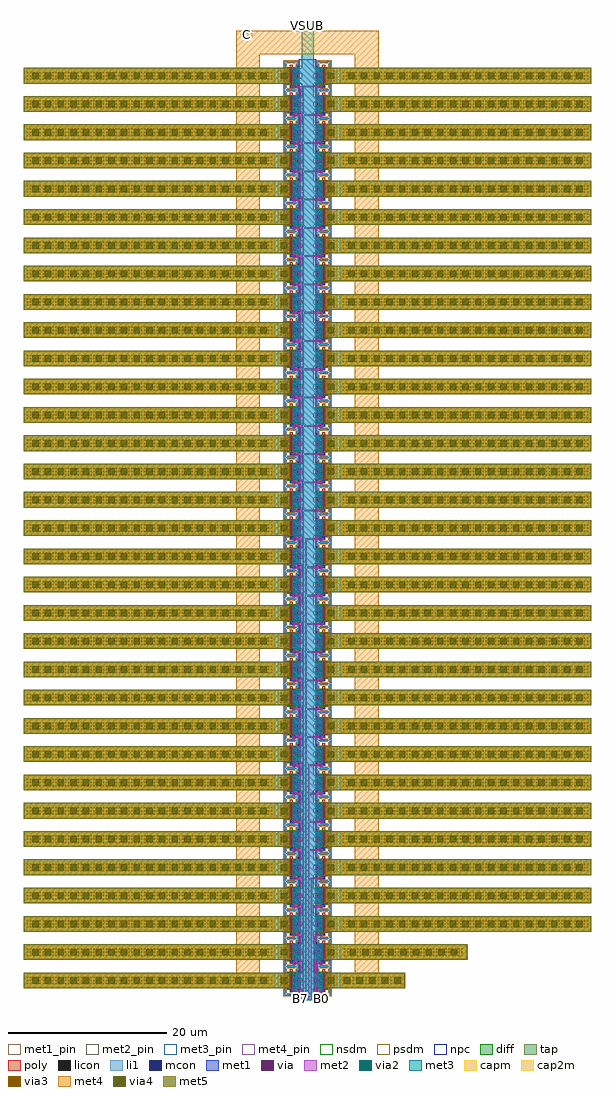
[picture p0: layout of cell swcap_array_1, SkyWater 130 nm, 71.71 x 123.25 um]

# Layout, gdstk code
from math import pi, radians
import gdstk
lib = gdstk.Library(unit=1e-6, precision=1e-09)
def R(c, l, rs):  # rectangles x0, y0, x1, y1
    for r in rs: c.add(gdstk.rectangle(r[:2], r[2:], *l))
def A(c, l, x, y, w, h, nx, ny, dx, dy):  # array of equal rectangles
    R(c, l, [(x+i*dx, y+j*dy, x+i*dx+w, y+j*dy+h) for i in range(nx) for j in range(ny)])
diff = (65, 20)
tap = (65, 44)
poly = (66, 20)
licon = (66, 44)
li1 = (67, 20)
mcon = (67, 44)
met1_pin = (68, 16)
met1 = (68, 20)
via = (68, 44)
met2_pin = (69, 16)
met2 = (69, 20)
via2 = (69, 44)
met3_pin = (70, 16)
met3 = (70, 20)
via3 = (70, 44)
met4_pin = (71, 16)
met4 = (71, 20)
via4 = (71, 44)
met5 = (72, 20)
capm = (89, 44)
nsdm = (93, 44)
psdm = (94, 20)
npc = (95, 20)
cap2m = (97, 44)

tcap_50f = lib.new_cell('tcap_50f')
R(tcap_50f, diff, [(0.425,0.785,1.155,2.785)])
R(tcap_50f, tap, [(-0.085,-0.085,1.665,0.085), (-0.085,0.085,0.085,3.485), (1.495,0.085,1.665,3.485), (-0.085,3.485,1.665,3.655)])
R(tcap_50f, poly, [(0.625,0.345,0.955,0.675), (0.715,0.675,0.865,2.895), (0.625,2.895,0.955,3.225)])
A(tcap_50f, licon, -0.085, 0.51, 0.17, 0.17, 1, 8, 0, 0.34)
A(tcap_50f, licon, 1.495, 0.51, 0.17, 0.17, 1, 8, 0, 0.34)
A(tcap_50f, licon, 0.485, 0.85, 0.17, 0.17, 1, 6, 0, 0.34)
A(tcap_50f, licon, 0.925, 0.85, 0.17, 0.17, 1, 6, 0, 0.34)
R(tcap_50f, licon, [(0.535,-0.085,0.705,0.085), (0.875,-0.085,1.045,0.085), (0.705,0.425,0.875,0.595), (0.535,3.485,0.705,3.655), (0.875,3.485,1.045,3.655)])
R(tcap_50f, li1, [(-0.255,-0.085,1.665,0.085), (-0.255,0.085,0.085,3.485), (1.495,0.085,1.665,3.485), (0.625,0.425,0.955,0.595), (0.485,0.765,0.655,2.805), (0.925,0.765,1.095,2.805), (-0.255,3.485,1.665,3.655)])
A(tcap_50f, mcon, -0.085, 0.98, 0.17, 0.17, 1, 5, 0, 0.36)
A(tcap_50f, mcon, 0.485, 0.98, 0.17, 0.17, 1, 5, 0, 0.36)
A(tcap_50f, mcon, 0.925, 0.98, 0.17, 0.17, 1, 5, 0, 0.36)
R(tcap_50f, mcon, [(0.705,0.425,0.875,0.595)])
R(tcap_50f, met1_pin, [(-0.2,0.8,-0.1,2.75)])
R(tcap_50f, met1, [(0.225,0.225,0.625,0.345), (0.225,0.345,0.955,0.625), (-0.255,0.785,0.685,2.785), (0.895,0.785,1.125,0.85), (0.895,0.85,1.7,2.785), (1.1,2.785,1.7,2.8)])
A(tcap_50f, via, 0.335, 1.07, 0.15, 0.15, 1, 5, 0, 0.32)
A(tcap_50f, via, 1.325, 1.11, 0.15, 0.15, 1, 5, 0, 0.32)
R(tcap_50f, via, [(0.35,0.35,0.5,0.5)])
R(tcap_50f, met2_pin, [(0.2,0.25,0.25,0.6)])
R(tcap_50f, met2, [(0.225,0.225,0.625,0.25), (0.2,0.25,0.625,0.6), (0.225,0.6,0.625,0.625), (0.185,0.835,0.635,2.735), (1.1,0.85,1.7,2.8)])
A(tcap_50f, via2, 0.285, 1.085, 0.2, 0.2, 1, 4, 0, 0.4)
A(tcap_50f, via2, 1.3, 1.125, 0.2, 0.2, 1, 4, 0, 0.4)
R(tcap_50f, met3, [(0.9,0.83,11.05,2.8), (0.185,0.835,0.585,0.885), (-1.165,0.885,0.585,1.585), (0.185,1.585,0.585,2.085), (-1.165,2.085,0.585,2.785)])
A(tcap_50f, via3, 1.2, 1.1, 0.2, 0.2, 3, 4, 0.4, 0.4)
A(tcap_50f, via3, 3.225, 1.3, 0.2, 0.2, 19, 3, 0.4, 0.4)
R(tcap_50f, met4_pin, [(11.05,0.85,11.1,2.75)])
R(tcap_50f, met4, [(0.9,0.83,2.5,2.8), (2.8,0.83,11.05,0.85), (2.8,0.85,11.1,2.75), (2.8,2.75,11.05,2.8)])
A(tcap_50f, via4, 3.325, 1.4, 0.8, 0.8, 5, 1, 1.6, 0)
R(tcap_50f, via4, [(1.3,1.4,2.1,2.2)])
R(tcap_50f, met5, [(0.9,0.83,11.05,2.8)])
R(tcap_50f, capm, [(3,1,10.85,2.6)])
R(tcap_50f, nsdm, [(0.3,0.66,1.28,2.91)])
R(tcap_50f, psdm, [(-0.21,-0.21,1.79,0.21), (-0.21,0.21,0.21,3.36), (1.37,0.21,1.79,3.36), (-0.21,3.36,1.79,3.78)])
R(tcap_50f, npc, [(0.605,0.325,0.975,0.695)])
R(tcap_50f, cap2m, [(3,1,10.85,2.6)])
tcap_50f.add(gdstk.Label('VLO', (-0.15,1.775), layer=68, texttype=16))
tcap_50f.add(gdstk.Label('S', (0.225,0.425), layer=69, texttype=16))
tcap_50f.add(gdstk.Label('C', (11.075,1.8), layer=71, texttype=16))

tcap_100f = lib.new_cell('tcap_100f')
R(tcap_100f, diff, [(0.425,0.785,1.155,2.785)])
R(tcap_100f, tap, [(-0.085,-0.085,1.665,0.085), (-0.085,0.085,0.085,3.485), (1.495,0.085,1.665,3.485), (-0.085,3.485,1.665,3.655)])
R(tcap_100f, poly, [(0.625,0.345,0.955,0.675), (0.715,0.675,0.865,2.895), (0.625,2.895,0.955,3.225)])
A(tcap_100f, licon, -0.085, 0.51, 0.17, 0.17, 1, 8, 0, 0.34)
A(tcap_100f, licon, 1.495, 0.51, 0.17, 0.17, 1, 8, 0, 0.34)
A(tcap_100f, licon, 0.485, 0.85, 0.17, 0.17, 1, 6, 0, 0.34)
A(tcap_100f, licon, 0.925, 0.85, 0.17, 0.17, 1, 6, 0, 0.34)
R(tcap_100f, licon, [(0.535,-0.085,0.705,0.085), (0.875,-0.085,1.045,0.085), (0.705,0.425,0.875,0.595), (0.535,3.485,0.705,3.655), (0.875,3.485,1.045,3.655)])
R(tcap_100f, li1, [(-0.255,-0.085,1.665,0.085), (-0.255,0.085,0.085,3.485), (1.495,0.085,1.665,3.485), (0.625,0.425,0.955,0.595), (0.485,0.765,0.655,2.805), (0.925,0.765,1.095,2.805), (-0.255,3.485,1.665,3.655)])
A(tcap_100f, mcon, -0.085, 0.98, 0.17, 0.17, 1, 5, 0, 0.36)
A(tcap_100f, mcon, 0.485, 0.98, 0.17, 0.17, 1, 5, 0, 0.36)
A(tcap_100f, mcon, 0.925, 0.98, 0.17, 0.17, 1, 5, 0, 0.36)
R(tcap_100f, mcon, [(0.705,0.425,0.875,0.595)])
R(tcap_100f, met1_pin, [(-0.2,0.8,-0.1,2.75)])
R(tcap_100f, met1, [(0.225,0.225,0.625,0.345), (0.225,0.345,0.955,0.625), (-0.255,0.785,0.685,2.785), (0.895,0.785,1.125,0.8), (0.895,0.8,1.7,2.75), (0.895,2.75,1.125,2.785)])
A(tcap_100f, via, 1.325, 1.06, 0.15, 0.15, 1, 5, 0, 0.32)
A(tcap_100f, via, 0.235, 1.075, 0.15, 0.15, 1, 5, 0, 0.32)
R(tcap_100f, via, [(0.35,0.35,0.5,0.5)])
R(tcap_100f, met2_pin, [(0.2,0.25,0.25,0.6)])
R(tcap_100f, met2, [(0.225,0.225,0.625,0.25), (0.2,0.25,0.625,0.6), (0.225,0.6,0.625,0.625), (1.1,0.8,1.7,2.75), (-0.015,0.865,0.635,2.715)])
A(tcap_100f, via2, 1.3, 1.075, 0.2, 0.2, 1, 4, 0, 0.4)
A(tcap_100f, via2, 0.185, 1.09, 0.2, 0.2, 1, 4, 0, 0.4)
R(tcap_100f, met3, [(1.1,0.8,1.7,0.83), (0.9,0.83,18.9,2.8), (-1.165,0.865,0.585,1.565), (-0.015,1.565,0.585,2.065), (-1.165,2.065,0.585,2.765)])
A(tcap_100f, via3, 1.2, 1.1, 0.2, 0.2, 3, 4, 0.4, 0.4)
A(tcap_100f, via3, 3.35, 1.3, 0.2, 0.2, 38, 3, 0.4, 0.4)
R(tcap_100f, met4_pin, [(18.9,0.85,18.95,2.75)])
R(tcap_100f, met4, [(0.9,0.83,2.5,2.8), (2.8,0.83,18.9,0.85), (2.8,0.85,18.95,2.75), (2.8,2.75,18.9,2.8)])
A(tcap_100f, via4, 4.05, 1.4, 0.8, 0.8, 9, 1, 1.6, 0)
R(tcap_100f, via4, [(1.3,1.4,2.1,2.2)])
R(tcap_100f, met5, [(0.9,0.83,18.9,2.8)])
R(tcap_100f, capm, [(3,1,18.7,2.6)])
R(tcap_100f, nsdm, [(0.3,0.66,1.28,2.91)])
R(tcap_100f, psdm, [(-0.21,-0.21,1.79,0.21), (-0.21,0.21,0.21,3.36), (1.37,0.21,1.79,3.36), (-0.21,3.36,1.79,3.78)])
R(tcap_100f, npc, [(0.605,0.325,0.975,0.695)])
R(tcap_100f, cap2m, [(3,1,18.7,2.6)])
tcap_100f.add(gdstk.Label('VLO', (-0.15,1.775), layer=68, texttype=16))
tcap_100f.add(gdstk.Label('S', (0.225,0.425), layer=69, texttype=16))
tcap_100f.add(gdstk.Label('C', (18.925,1.8), layer=71, texttype=16))

tcap_200f = lib.new_cell('tcap_200f')
R(tcap_200f, diff, [(0.425,0.785,1.155,2.785)])
R(tcap_200f, tap, [(-0.085,-0.085,1.665,0.085), (-0.085,0.085,0.085,3.485), (1.495,0.085,1.665,3.485), (-0.085,3.485,1.665,3.655)])
R(tcap_200f, poly, [(0.625,0.345,0.955,0.675), (0.715,0.675,0.865,2.895), (0.625,2.895,0.955,3.225)])
A(tcap_200f, licon, -0.085, 0.51, 0.17, 0.17, 1, 8, 0, 0.34)
A(tcap_200f, licon, 1.495, 0.51, 0.17, 0.17, 1, 8, 0, 0.34)
A(tcap_200f, licon, 0.485, 0.85, 0.17, 0.17, 1, 6, 0, 0.34)
A(tcap_200f, licon, 0.925, 0.85, 0.17, 0.17, 1, 6, 0, 0.34)
R(tcap_200f, licon, [(0.535,-0.085,0.705,0.085), (0.875,-0.085,1.045,0.085), (0.705,0.425,0.875,0.595), (0.535,3.485,0.705,3.655), (0.875,3.485,1.045,3.655)])
R(tcap_200f, li1, [(-0.255,-0.085,1.665,0.085), (-0.255,0.085,0.085,3.485), (1.495,0.085,1.665,3.485), (0.625,0.425,0.955,0.595), (0.485,0.765,0.655,2.805), (0.925,0.765,1.095,2.805), (-0.255,3.485,1.665,3.655)])
A(tcap_200f, mcon, -0.085, 0.98, 0.17, 0.17, 1, 5, 0, 0.36)
A(tcap_200f, mcon, 0.485, 0.98, 0.17, 0.17, 1, 5, 0, 0.36)
A(tcap_200f, mcon, 0.925, 0.98, 0.17, 0.17, 1, 5, 0, 0.36)
R(tcap_200f, mcon, [(0.705,0.425,0.875,0.595)])
R(tcap_200f, met1_pin, [(-0.2,0.8,-0.1,2.75)])
R(tcap_200f, met1, [(0.225,0.225,0.625,0.345), (0.225,0.345,0.955,0.625), (-0.255,0.785,0.685,2.785), (0.895,0.785,1.125,0.85), (0.895,0.85,1.65,2.75), (0.895,2.75,1.125,2.785)])
A(tcap_200f, via, 0.355, 1.08, 0.15, 0.15, 1, 5, 0, 0.32)
A(tcap_200f, via, 1.3, 1.085, 0.15, 0.15, 1, 5, 0, 0.32)
R(tcap_200f, via, [(0.35,0.35,0.5,0.5)])
R(tcap_200f, met2_pin, [(0.2,0.25,0.25,0.6)])
R(tcap_200f, met2, [(0.225,0.225,0.625,0.25), (0.2,0.25,0.625,0.6), (0.225,0.6,0.625,0.625), (0.205,0.845,0.655,2.745), (1.1,0.85,1.65,2.75)])
A(tcap_200f, via2, 0.305, 1.095, 0.2, 0.2, 1, 4, 0, 0.4)
A(tcap_200f, via2, 1.275, 1.1, 0.2, 0.2, 1, 4, 0, 0.4)
R(tcap_200f, met3, [(0.905,0.83,34.6,2.8), (-1.345,0.845,0.605,1.545), (0.205,1.545,0.605,2.045), (-1.345,2.045,0.605,2.745)])
A(tcap_200f, via3, 1.2, 1.1, 0.2, 0.2, 3, 4, 0.4, 0.4)
A(tcap_200f, via3, 3.2, 1.3, 0.2, 0.2, 78, 3, 0.4, 0.4)
R(tcap_200f, met4_pin, [(18.9,0.85,18.95,2.75)])
R(tcap_200f, met4, [(0.905,0.83,2.5,2.8), (2.8,0.83,34.6,2.8)])
A(tcap_200f, via4, 3.9, 1.4, 0.8, 0.8, 19, 1, 1.6, 0)
R(tcap_200f, via4, [(1.3,1.4,2.1,2.2)])
R(tcap_200f, met5, [(0.905,0.83,34.6,2.8)])
R(tcap_200f, capm, [(3,1,34.4,2.6)])
R(tcap_200f, nsdm, [(0.3,0.66,1.28,2.91)])
R(tcap_200f, psdm, [(-0.21,-0.21,1.79,0.21), (-0.21,0.21,0.21,3.36), (1.37,0.21,1.79,3.36), (-0.21,3.36,1.79,3.78)])
R(tcap_200f, npc, [(0.605,0.325,0.975,0.695)])
R(tcap_200f, cap2m, [(3,1,34.4,2.6)])
tcap_200f.add(gdstk.Label('VLO', (-0.15,1.775), layer=68, texttype=16))
tcap_200f.add(gdstk.Label('S', (0.225,0.425), layer=69, texttype=16))
tcap_200f.add(gdstk.Label('C', (18.925,1.8), layer=71, texttype=16))

swcap_array_1 = lib.new_cell('swcap_array_1')
R(swcap_array_1, met1, [(1.9,-5,4.1,113.4)])
A(swcap_array_1, met2_pin, 2, -5.3, 0.2, 0.2, 7, 1, 0.35, 0)
R(swcap_array_1, met2_pin, [(4.7,-5.3,4.9,-5.1)])
A(swcap_array_1, met2, 1.3, -0.85, 0.9, 0.2, 1, 32, 0, 3.57)
A(swcap_array_1, met2, 2, -0.65, 0.2, 3.37, 1, 31, 0, 3.57)
A(swcap_array_1, met2, 2.35, 56.5, 0.2, 3.37, 1, 15, 0, 3.57)
A(swcap_array_1, met2, 2.35, 59.87, 2.45, 0.2, 1, 15, 0, 3.57)
R(swcap_array_1, met2, [(2,-5.3,2.2,-4.4), (2.35,-5.3,2.55,56.3), (2.7,-5.3,2.9,27.7), (3.05,-5.3,3.25,13.45), (3.4,-5.3,3.6,6.3), (3.75,-5.3,3.95,2.7), (4.1,-5.3,4.3,-0.8), (4.7,-5.3,4.9,-4.2), (1.25,-4.4,2.2,-4.2), (2,-4.2,2.2,-0.85), (4.1,-0.8,4.7,-0.6), (3.75,2.7,4.7,2.9), (3.4,6.3,4.75,6.5), (3.4,6.5,3.6,9.85), (3.4,9.85,4.8,10.05), (3.05,13.45,4.65,13.65), (3.05,13.65,3.25,17), (3.05,17,4.7,17.2), (3.05,17.2,3.25,20.55), (3.05,20.55,4.75,20.75), (3.05,20.75,3.25,24.15), (3.05,24.15,4.7,24.35), (2.7,27.7,4.8,27.9), (2.7,27.9,2.9,31.25), (2.7,31.25,4.75,31.45), (2.7,31.45,2.9,34.85), (2.7,34.85,4.8,35.05), (2.7,35.05,2.9,38.45), (2.7,38.45,4.85,38.65), (2.7,38.65,2.9,42), (2.7,42,4.75,42.2), (2.7,42.2,2.9,45.55), (2.7,45.55,4.75,45.75), (2.7,45.75,2.9,49.15), (2.7,49.15,4.7,49.35), (2.7,49.35,2.9,52.7), (2.7,52.7,4.75,52.9), (2.35,56.3,4.85,56.5)])
R(swcap_array_1, met3_pin, [(2.3,117.4,3.8,117.85)])
R(swcap_array_1, met3, [(2.3,-5.4,3.8,117.85)])
R(swcap_array_1, met4_pin, [(-5.45,116.25,-3.95,116.7)])
R(swcap_array_1, met4, [(9,-3.8,12,114), (-6,-3.7,-3,114), (-6,114,12,117)])
swcap_array_1.add(gdstk.Reference(tcap_50f, (4.265,-4.735)))
swcap_array_1.add(gdstk.Reference(tcap_100f, (4.265,-1.165)))
swcap_array_1.add(gdstk.Reference(tcap_200f, (1.755,-1.165), rotation=pi, x_reflection=True))
swcap_array_1.add(gdstk.Reference(tcap_200f, (1.755,-4.735), rotation=pi, x_reflection=True))
swcap_array_1.add(gdstk.Reference(tcap_200f, (4.265,2.405)))
swcap_array_1.add(gdstk.Reference(tcap_200f, (1.755,2.405), rotation=pi, x_reflection=True))
swcap_array_1.add(gdstk.Reference(tcap_200f, (4.265,5.975)))
swcap_array_1.add(gdstk.Reference(tcap_200f, (1.755,5.975), rotation=pi, x_reflection=True))
swcap_array_1.add(gdstk.Reference(tcap_200f, (4.265,9.545)))
swcap_array_1.add(gdstk.Reference(tcap_200f, (1.755,9.545), rotation=pi, x_reflection=True))
swcap_array_1.add(gdstk.Reference(tcap_200f, (4.265,13.115)))
swcap_array_1.add(gdstk.Reference(tcap_200f, (1.755,13.115), rotation=pi, x_reflection=True))
swcap_array_1.add(gdstk.Reference(tcap_200f, (4.265,16.685)))
swcap_array_1.add(gdstk.Reference(tcap_200f, (1.755,16.685), rotation=pi, x_reflection=True))
swcap_array_1.add(gdstk.Reference(tcap_200f, (4.265,20.255)))
swcap_array_1.add(gdstk.Reference(tcap_200f, (4.265,23.825)))
swcap_array_1.add(gdstk.Reference(tcap_200f, (1.755,23.825), rotation=pi, x_reflection=True))
swcap_array_1.add(gdstk.Reference(tcap_200f, (1.755,20.255), rotation=pi, x_reflection=True))
swcap_array_1.add(gdstk.Reference(tcap_200f, (4.265,27.395)))
swcap_array_1.add(gdstk.Reference(tcap_200f, (1.755,27.395), rotation=pi, x_reflection=True))
swcap_array_1.add(gdstk.Reference(tcap_200f, (4.265,30.965)))
swcap_array_1.add(gdstk.Reference(tcap_200f, (1.755,30.965), rotation=pi, x_reflection=True))
swcap_array_1.add(gdstk.Reference(tcap_200f, (4.265,34.535)))
swcap_array_1.add(gdstk.Reference(tcap_200f, (1.755,34.535), rotation=pi, x_reflection=True))
swcap_array_1.add(gdstk.Reference(tcap_200f, (4.265,38.105)))
swcap_array_1.add(gdstk.Reference(tcap_200f, (1.755,38.105), rotation=pi, x_reflection=True))
swcap_array_1.add(gdstk.Reference(tcap_200f, (4.265,41.675)))
swcap_array_1.add(gdstk.Reference(tcap_200f, (1.755,41.675), rotation=pi, x_reflection=True))
swcap_array_1.add(gdstk.Reference(tcap_200f, (4.265,45.245)))
swcap_array_1.add(gdstk.Reference(tcap_200f, (1.755,45.245), rotation=pi, x_reflection=True))
swcap_array_1.add(gdstk.Reference(tcap_200f, (4.265,48.815)))
swcap_array_1.add(gdstk.Reference(tcap_200f, (4.265,52.385)))
swcap_array_1.add(gdstk.Reference(tcap_200f, (1.755,52.385), rotation=pi, x_reflection=True))
swcap_array_1.add(gdstk.Reference(tcap_200f, (1.755,48.815), rotation=pi, x_reflection=True))
swcap_array_1.add(gdstk.Reference(tcap_200f, (4.265,55.955)))
swcap_array_1.add(gdstk.Reference(tcap_200f, (1.755,55.955), rotation=pi, x_reflection=True))
swcap_array_1.add(gdstk.Reference(tcap_200f, (4.265,59.525)))
swcap_array_1.add(gdstk.Reference(tcap_200f, (1.755,59.525), rotation=pi, x_reflection=True))
swcap_array_1.add(gdstk.Reference(tcap_200f, (4.265,63.095)))
swcap_array_1.add(gdstk.Reference(tcap_200f, (1.755,63.095), rotation=pi, x_reflection=True))
swcap_array_1.add(gdstk.Reference(tcap_200f, (4.265,66.665)))
swcap_array_1.add(gdstk.Reference(tcap_200f, (1.755,66.665), rotation=pi, x_reflection=True))
swcap_array_1.add(gdstk.Reference(tcap_200f, (4.265,70.235)))
swcap_array_1.add(gdstk.Reference(tcap_200f, (1.755,70.235), rotation=pi, x_reflection=True))
swcap_array_1.add(gdstk.Reference(tcap_200f, (4.265,73.805)))
swcap_array_1.add(gdstk.Reference(tcap_200f, (1.755,73.805), rotation=pi, x_reflection=True))
swcap_array_1.add(gdstk.Reference(tcap_200f, (4.265,77.375)))
swcap_array_1.add(gdstk.Reference(tcap_200f, (4.265,80.945)))
swcap_array_1.add(gdstk.Reference(tcap_200f, (1.755,80.945), rotation=pi, x_reflection=True))
swcap_array_1.add(gdstk.Reference(tcap_200f, (1.755,77.375), rotation=pi, x_reflection=True))
swcap_array_1.add(gdstk.Reference(tcap_200f, (4.265,84.515)))
swcap_array_1.add(gdstk.Reference(tcap_200f, (1.755,84.515), rotation=pi, x_reflection=True))
swcap_array_1.add(gdstk.Reference(tcap_200f, (4.265,88.085)))
swcap_array_1.add(gdstk.Reference(tcap_200f, (1.755,88.085), rotation=pi, x_reflection=True))
swcap_array_1.add(gdstk.Reference(tcap_200f, (4.265,91.655)))
swcap_array_1.add(gdstk.Reference(tcap_200f, (1.755,91.655), rotation=pi, x_reflection=True))
swcap_array_1.add(gdstk.Reference(tcap_200f, (4.265,95.225)))
swcap_array_1.add(gdstk.Reference(tcap_200f, (1.755,95.225), rotation=pi, x_reflection=True))
swcap_array_1.add(gdstk.Reference(tcap_200f, (4.265,98.795)))
swcap_array_1.add(gdstk.Reference(tcap_200f, (1.755,98.795), rotation=pi, x_reflection=True))
swcap_array_1.add(gdstk.Reference(tcap_200f, (4.265,105.935)))
swcap_array_1.add(gdstk.Reference(tcap_200f, (4.265,102.365)))
swcap_array_1.add(gdstk.Reference(tcap_200f, (1.755,105.935), rotation=pi, x_reflection=True))
swcap_array_1.add(gdstk.Reference(tcap_200f, (1.755,102.365), rotation=pi, x_reflection=True))
swcap_array_1.add(gdstk.Reference(tcap_200f, (4.265,109.505)))
swcap_array_1.add(gdstk.Reference(tcap_200f, (1.755,109.505), rotation=pi, x_reflection=True))
swcap_array_1.add(gdstk.Label('B7', (2.1,-5.2), layer=69, texttype=16))
swcap_array_1.add(gdstk.Label('B6', (2.45,-5.2), layer=69, texttype=16))
swcap_array_1.add(gdstk.Label('B5', (2.8,-5.2), layer=69, texttype=16))
swcap_array_1.add(gdstk.Label('B4', (3.15,-5.2), layer=69, texttype=16))
swcap_array_1.add(gdstk.Label('B3', (3.5,-5.2), layer=69, texttype=16))
swcap_array_1.add(gdstk.Label('B2', (3.85,-5.2), layer=69, texttype=16))
swcap_array_1.add(gdstk.Label('B1', (4.2,-5.2), layer=69, texttype=16))
swcap_array_1.add(gdstk.Label('B0', (4.8,-5.2), layer=69, texttype=16))
swcap_array_1.add(gdstk.Label('VSUB', (3.05,117.625), layer=70, texttype=16))
swcap_array_1.add(gdstk.Label('C', (-4.7,116.475), layer=71, texttype=16))

lib.write_gds('swcap_array_1.gds')
